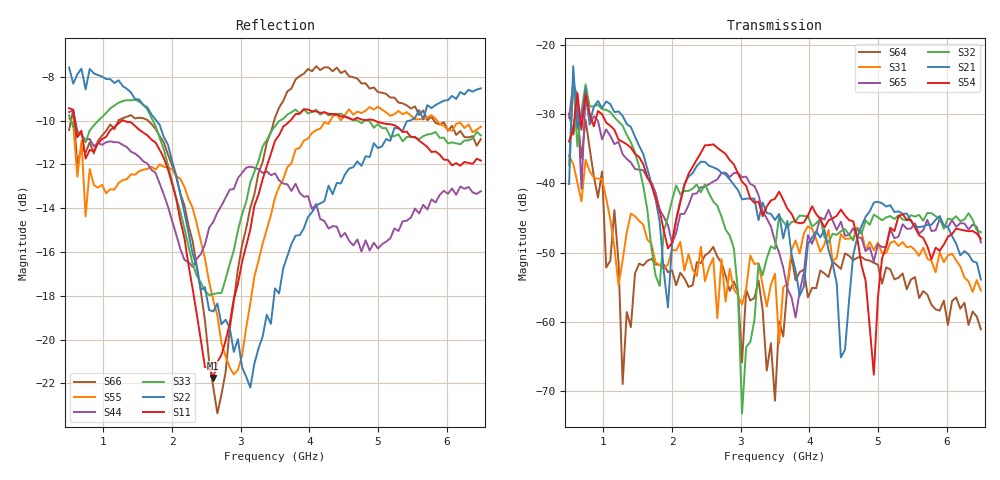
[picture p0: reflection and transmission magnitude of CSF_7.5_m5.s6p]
!Keysight Technologies,M9804A,MY58100912,A.14.10.03
!Date: Thursday, April 27, 2023 10:28:33
!Correction: S11(C  6-Port  )
!S12(C  6-Port  )
!S13(C  6-Port  )
!S14(C  6-Port  )
!S15(C  6-Port  )
!S16(C  6-Port  )
!S21(C  6-Port  )
!S22(C  6-Port  )
!S23(C  6-Port  )
!S24(C  6-Port  )
!S25(C  6-Port  )
!S26(C  6-Port  )
!S31(C  6-Port  )
!S32(C  6-Port  )
!S33(C  6-Port  )
!S34(C  6-Port  )
!S35(C  6-Port  )
!S36(C  6-Port  )
!S41(C  6-Port  )
!S42(C  6-Port  )
!S43(C  6-Port  )
!S44(C  6-Port  )
!S45(C  6-Port  )
!S46(C  6-Port  )
!S51(C  6-Port  )
!S52(C  6-Port  )
!S53(C  6-Port  )
!S54(C  6-Port  )
!S55(C  6-Port  )
!S56(C  6-Port  )
!S61(C  6-Port  )
!S62(C  6-Port  )
!S63(C  6-Port  )
!S64(C  6-Port  )
!S65(C  6-Port  )
!S66(C  6-Port  )
!S6P File: Measurement: :
# Hz S  RI  R 50
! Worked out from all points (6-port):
!   101 points, 500 MHz to 6.5 GHz, reference 50 ohm
!   strongest paths, dB at 500 MHz, 2 GHz, 3.5 GHz, 5 GHz, 6.5 GHz:
!     S54: -33.9, -48.6, -42.2, -56.4, -48.0
!     S21: -40.1, -48.8, -45.3, -42.6, -53.9
!     S32: -37.3, -42.4, -49.5, -44.9, -47.0
!     S65: -30.5, -48.6, -48.4, -48.8, -48.5
!     S31: -36.0, -49.6, -53.1, -48.5, -55.5
!     S64: -29.9, -52.6, -71.4, -51.7, -61.1
!   lowest |S11| = -21.7 dB at 2.6 GHz (marker M1), VSWR 1.18, Z = 42.7 + j1.96 ohm
!   |S11| at or under -10 dB: 583.8 MHz to 1.269 GHz (684.9 MHz wide, 73.9 % of centre); 1.301 GHz to 3.721 GHz (2.42 GHz wide, 96.4 % of centre); 4.956 GHz to end of sweep
